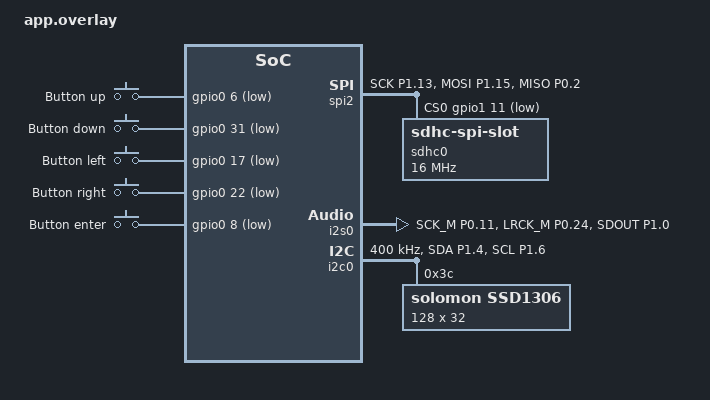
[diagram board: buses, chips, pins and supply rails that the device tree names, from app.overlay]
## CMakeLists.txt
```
cmake_minimum_required(VERSION 3.20.0)

find_package(Zephyr REQUIRED HINTS $ENV{ZEPHYR_BASE})
project(nRF52840-SD-MP3-Player)

add_subdirectory(src/decoder)
add_subdirectory(src/third-party)
add_subdirectory(src/utilities)
add_subdirectory(src/keyboard)
add_subdirectory(src/display)
add_subdirectory(src/gui)
add_subdirectory(src/player)
add_subdirectory(src/ssd1306)

target_sources(app 
    PRIVATE
        src/main.c
)

target_link_libraries(app
    PRIVATE
        decoder
        utilities
)

target_compile_options(app
    PRIVATE
        -Wno-format-truncation
)
```

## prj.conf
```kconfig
# Optimizations
CONFIG_SIZE_OPTIMIZATIONS=y
CONFIG_LTO=y
CONFIG_ISR_TABLES_LOCAL_DECLARATION=y

# Configure peripherals
CONFIG_GPIO=y
CONFIG_FPU=y
CONFIG_SPI=y
CONFIG_I2S=y
CONFIG_I2C=y

# Configure logger
CONFIG_PRINTK=y
CONFIG_LOG=y
CONFIG_LOG_PROCESS_THREAD_STACK_SIZE=2048

# Configure filesystem
CONFIG_DISK_DRIVER_SDMMC=y
CONFIG_FILE_SYSTEM=y
CONFIG_FAT_FILESYSTEM_ELM=y
CONFIG_FS_FATFS_LFN=y
CONFIG_FS_FATFS_EXFAT=y
CONFIG_FS_FATFS_READ_ONLY=y
CONFIG_FS_FATFS_MOUNT_MKFS=n
CONFIG_FS_FATFS_CODEPAGE=852

# Configure SSD1306 OLED display
CONFIG_DISPLAY=y
CONFIG_SSD1306=y

# Stack sizes
CONFIG_MAIN_STACK_SIZE=2048
CONFIG_SYSTEM_WORKQUEUE_STACK_SIZE=2048
```

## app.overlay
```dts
/ {
	aliases {
		audio-i2s = &i2s0;
		oled = &ssd1306;
	};

	buttons {
		compatible = "gpio-keys";

		button_up: button_up {
			label = "Button up";
			gpios = <&gpio0 6 (GPIO_ACTIVE_LOW | GPIO_PULL_UP)>;
		};

		button_down: button_down {
			label = "Button down";
			gpios = <&gpio0 31 (GPIO_ACTIVE_LOW | GPIO_PULL_UP)>;
		};

		button_left: button_left {
			label = "Button left";
			gpios = <&gpio0 17 (GPIO_ACTIVE_LOW | GPIO_PULL_UP)>;
		};

		button_right: button_right {
			label = "Button right";
			gpios = <&gpio0 22 (GPIO_ACTIVE_LOW | GPIO_PULL_UP)>;
		};

		button_enter: button_enter {
			label = "Button enter";
			gpios = <&gpio0 8 (GPIO_ACTIVE_LOW | GPIO_PULL_UP)>;
		};
	};
};

&pinctrl {
	spi2_default: spi2_default {
		group1 {
			psels = <NRF_PSEL(SPIM_SCK, 1, 13)>,
				<NRF_PSEL(SPIM_MOSI, 1, 15)>,
				<NRF_PSEL(SPIM_MISO, 0, 2)>;
		};
	};

	spi2_sleep: spi2_sleep {
		group1 {
			psels = <NRF_PSEL(SPIM_SCK, 1, 13)>,
				<NRF_PSEL(SPIM_MOSI, 1, 15)>,
				<NRF_PSEL(SPIM_MISO, 0, 2)>;
			low-power-enable;
		};
	};

	i2s0_default: i2s0_default {
		group1 {
			psels = <NRF_PSEL(I2S_SCK_M, 0, 11)>,
				<NRF_PSEL(I2S_LRCK_M, 0, 24)>,
				<NRF_PSEL(I2S_SDOUT, 1, 0)>;
		};
	};

	i2c0_default: i2c0_default {
		group1 {
			psels = <NRF_PSEL(TWIM_SDA, 1, 4)>,
				<NRF_PSEL(TWIM_SCL, 1, 6)>;
			bias-pull-up;
		};
	};

	i2c0_sleep: i2c0_sleep {
		group1 {
			psels = <NRF_PSEL(TWIM_SDA, 1, 4)>,
				<NRF_PSEL(TWIM_SCL, 1, 6)>;
			low-power-enable;
		};
	};
};

&spi2 {
	status = "okay";

	pinctrl-0 = <&spi2_default>;
	pinctrl-1 = <&spi2_sleep>;
	pinctrl-names = "default", "sleep";

	cs-gpios = <&gpio1 11 GPIO_ACTIVE_LOW>;

	sdhc0: sdhc@0 {
		compatible = "zephyr,sdhc-spi-slot";
		reg = <0>;
		status = "okay";
		mmc {
			compatible = "zephyr,sdmmc-disk";
			disk-name = "SD";
			status = "okay";
		};
		spi-max-frequency = <16000000>;
	};
};

&i2s0 {
	status = "okay";
	pinctrl-0 = <&i2s0_default>;
	pinctrl-names = "default";
};

&i2c0 {
	status = "okay";
	compatible = "nordic,nrf-twim";
	pinctrl-0 = <&i2c0_default>;
	pinctrl-1 = <&i2c0_sleep>;
	pinctrl-names = "default", "sleep";
	clock-frequency = <I2C_BITRATE_FAST>;

	ssd1306: ssd1306@3c {
		status = "okay";
		compatible = "solomon,ssd1306";
		reg = <0x3c>;
		width = <128>;
		height = <32>;
		segment-offset = <0>;
		page-offset = <0>;
		display-offset = <0>;
		multiplex-ratio = <31>;
		prechargep = <0x22>;
		com-invdir;
		com-sequential;
		segment-remap;
	};
};
```

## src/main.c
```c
#include <zephyr/kernel.h>
#include <zephyr/device.h>
#include <zephyr/logging/log.h>
#include <zephyr/fs/fs.h>
#include <ff.h>
#include <gui.h>
#include <dir.h>
#include <player.h>
#include <ssd1306.h>
#include <ssd1306_fonts.h>

#define SD_MOUNT_POINT "/SD:"

static FATFS fs;
static struct fs_mount_t mp = {
	.fs_data = &fs,
	.type = FS_FATFS,
	.mnt_point = SD_MOUNT_POINT
};

LOG_MODULE_REGISTER(main);

int main(void)
{
	/* Initialize SSD1306 display */
	ssd1306_init();

	/* Mount FS */
	const int err = fs_mount(&mp);
	if (err) {
		ssd1306_write_string("SD card mount failed!", Font_6x8, SSD1306_WHITE);
		ssd1306_update_screen();
		return err;
	}
	
	/* Initialize dir */
	dir_init(SD_MOUNT_POINT);

	/* Start player thread */
	player_init();

	/* Start GUI thread */
	gui_init();

	return 0;
}
```

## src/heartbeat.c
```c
#include <zephyr/kernel.h>
#include <zephyr/device.h>
#include <zephyr/drivers/pwm.h>

#define HEARTBEAT_PWM_PERIOD_NS (1 * 1000U * 1000U)
#define HEARTBEAT_STACK_SIZE (1024U * 1)
#define HEARTBEAT_PRIORITY 10

static const struct pwm_dt_spec pwm_led = PWM_DT_SPEC_GET(DT_ALIAS(pwm_led0));

static uint32_t percent_to_pulse_value(float percent)
{
	return (percent * HEARTBEAT_PWM_PERIOD_NS) / 100.0f;
}

static void heartbeat_thread(void)
{
    if (!pwm_is_ready_dt(&pwm_led)) {
		return;
	}

	while (1) {
		for (size_t i = 0; i < 20; ++i) {
			pwm_set_dt(&pwm_led, HEARTBEAT_PWM_PERIOD_NS, percent_to_pulse_value(i));
			k_msleep(50);
		}

		for (size_t i = 20; i > 0; --i) {
			pwm_set_dt(&pwm_led, HEARTBEAT_PWM_PERIOD_NS, percent_to_pulse_value(i));
			k_msleep(50);
		}
	}
}

K_THREAD_DEFINE(heartbeat, HEARTBEAT_STACK_SIZE, heartbeat_thread, NULL, NULL, NULL, HEARTBEAT_PRIORITY, 0, 0);
```
